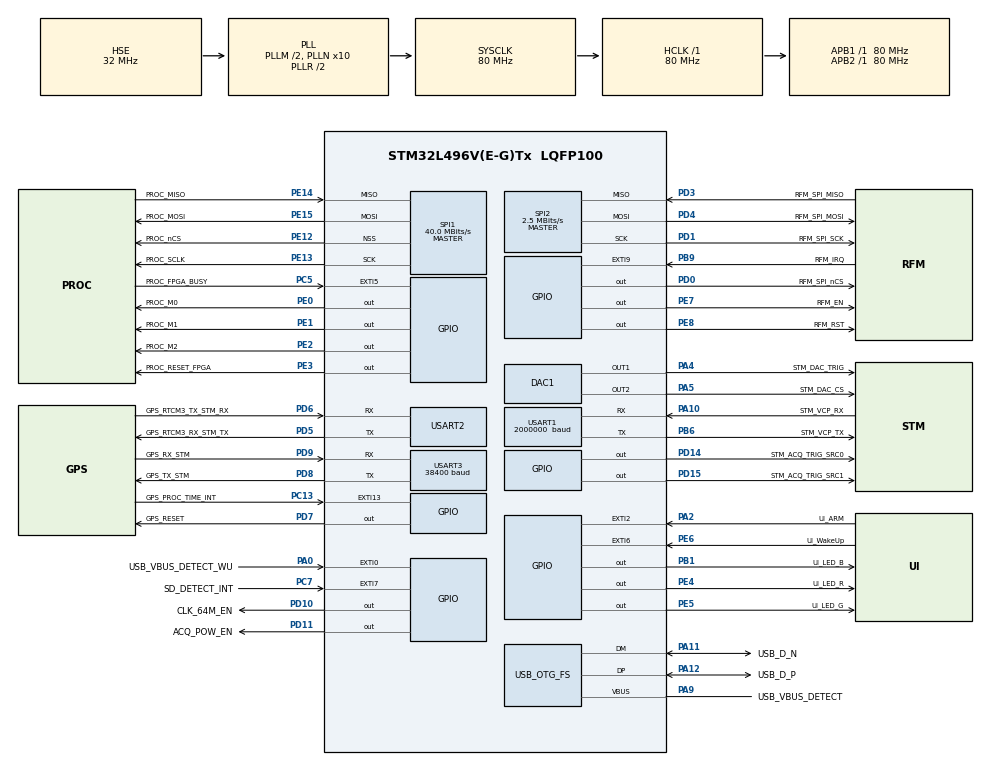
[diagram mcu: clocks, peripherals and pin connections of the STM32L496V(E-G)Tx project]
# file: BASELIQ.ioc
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DAC1.DAC_Channel-DAC_OUT2=DAC_CHANNEL_2
FREERTOS.BinarySemaphores01=xSem_LORAReceive_start,Dynamic,NULL;SD_Access_GNSS_Return,Dynamic,NULL;LORA_Access_GNSS_Return,Dynamic,NULL;GNSS_UART_Access,Dynamic,NULL;xSem_GNSS_Init,Dynamic,NULL;STARTUP_INIT_done,Dynamic,NULL
FREERTOS.INCLUDE_uxTaskPriorityGet=1
FREERTOS.INCLUDE_vTaskDelay=1
FREERTOS.INCLUDE_vTaskDelayUntil=1
FREERTOS.INCLUDE_vTaskDelete=1
FREERTOS.INCLUDE_vTaskPrioritySet=1
FREERTOS.INCLUDE_vTaskSuspend=1
FREERTOS.Queues01=UARTbyte,50,uint8_t,0,Dynamic,NULL,NULL;UBXQueue,16,UBXMessageQ_t,0,Dynamic,NULL,NULL;GNSS_Request,16,GNSSRequestQ_t,0,Dynamic,NULL,NULL;GNSS_Return,16,GNSSReturnQ_t,0,Dynamic,NULL,NULL;UARTdebug,128,UARTdebugQ_t,0,Dynamic,NULL,NULL;GNSS_toPoll,16,GNSStoPollQ_t,0,Dynamic,NULL,NULL;LoRA_toSend,16,LoRAtoSendQ_t,0,Dynamic,NULL,NULL
FREERTOS.Tasks01=InitTask,3,1024,StartInitTask,Default,NULL,Dynamic,NULL,NULL;ReceiverLoRA,0,2048,ReceiverLoRA_Task,Default,NULL,Dynamic,NULL,NULL;UARTbyte_to_GN,2,2048,UARTbyte_to_GNSSMessage_Task,Default,NULL,Dynamic,NULL,NULL;Matcher,2,1024,MatcherTask,Default,NULL,Dynamic,NULL,NULL;Fake_SDuse,0,2048,Fake_SDuse_Task,Default,NULL,Dynamic,NULL,NULL;UartDebug,-1,2048,UartDebugTask,Default,NULL,Dynamic,NULL,NULL;commandToGNSS,2,512,commandToGNSSTask,Default,NULL,Dynamic,NULL,NULL;SenderLoRa,-1,2048,SenderLoRa_Task,Default,NULL,Dynamic,NULL,NULL
FREERTOS.configGENERATE_RUN_TIME_STATS=1
FREERTOS.configMINIMAL_STACK_SIZE=512
FREERTOS.configTOTAL_HEAP_SIZE=65536
FREERTOS.configUSE_MALLOC_FAILED_HOOK=0
FREERTOS.configUSE_NEWLIB_REENTRANT=1
FREERTOS.configUSE_STATS_FORMATTING_FUNCTIONS=1
FREERTOS.configUSE_TIMERS=1
FREERTOS.configUSE_TRACE_FACILITY=1
Mcu.Family=STM32L4
Mcu.Name=STM32L496V(E-G)Tx
Mcu.Package=LQFP100
NVIC.EXTI9_5_IRQn=true\:5\:0\:false\:false\:true\:true\:true\:true\:true
NVIC.PriorityGroup=NVIC_PRIORITYGROUP_4
NVIC.TIM1_UP_TIM16_IRQn=true\:15\:0\:false\:false\:true\:false\:false\:true\:true
NVIC.TimeBase=TIM1_UP_TIM16_IRQn
NVIC.TimeBaseIP=TIM1
NVIC.USART1_IRQn=true\:5\:0\:false\:false\:true\:true\:true\:true\:true
NVIC.USART2_IRQn=true\:5\:0\:false\:false\:true\:true\:true\:true\:true
NVIC.USART3_IRQn=true\:5\:0\:true\:false\:true\:true\:true\:true\:true
PA0.GPIO_Label=USB_VBUS_DETECT_WU
PA0.Signal=GPXTI0
PA10.GPIO_Label=STM_VCP_RX
PA10.Mode=Asynchronous
PA10.Signal=USART1_RX
PA11.GPIO_Label=USB_D_N
PA11.Mode=Device_Only
PA11.Signal=USB_OTG_FS_DM
PA12.GPIO_Label=USB_D_P
PA12.Mode=Device_Only
PA12.Signal=USB_OTG_FS_DP
PA13\ (JTMS/SWDIO).GPIO_Label=STM_SWDIO
PA13\ (JTMS/SWDIO).Mode=Trace_Asynchronous_SW
PA13\ (JTMS/SWDIO).Signal=SYS_JTMS-SWDIO
PA14\ (JTCK/SWCLK).GPIO_Label=STM_SWCLK
PA14\ (JTCK/SWCLK).Mode=Trace_Asynchronous_SW
PA14\ (JTCK/SWCLK).Signal=SYS_JTCK-SWCLK
PA2.GPIO_Label=UI_ARM
PA2.Signal=GPXTI2
PA4.GPIO_Label=STM_DAC_TRIG
PA4.Signal=COMP_DAC11_group
PA5.GPIO_Label=STM_DAC_CS
PA5.Signal=COMP_DAC12_group
PA9.GPIO_Label=USB_VBUS_DETECT
PA9.Mode=Activate_VBUS
PA9.Signal=USB_OTG_FS_VBUS
PB1.GPIO_Label=UI_LED_B
PB1.Signal=GPIO_Output
PB3\ (JTDO/TRACESWO).GPIO_Label=STM_SWO
PB3\ (JTDO/TRACESWO).Mode=Trace_Asynchronous_SW
PB3\ (JTDO/TRACESWO).Signal=SYS_JTDO-SWO
PB6.GPIO_Label=STM_VCP_TX
PB6.Mode=Asynchronous
PB6.Signal=USART1_TX
PB9.GPIO_Label=RFM_IRQ
PB9.GPIO_ModeDefaultEXTI=GPIO_MODE_IT_RISING_FALLING
PB9.Signal=GPXTI9
PC13.GPIO_Label=GPS_PROC_TIME_INT
PC13.Signal=GPXTI13
PC14-OSC32_IN\ (PC14).GPIO_Label=OSC_RTC_IN
PC14-OSC32_IN\ (PC14).Mode=LSE-External-Oscillator
PC14-OSC32_IN\ (PC14).Signal=RCC_OSC32_IN
PC15-OSC32_OUT\ (PC15).GPIO_Label=OSC_RTC_OUT
PC15-OSC32_OUT\ (PC15).Mode=LSE-External-Oscillator
PC15-OSC32_OUT\ (PC15).Signal=RCC_OSC32_OUT
PC5.GPIO_Label=PROC_FPGA_BUSY
PC5.Signal=GPXTI5
PC7.GPIO_Label=SD_DETECT_INT
PC7.Signal=GPXTI7
PD0.GPIO_Label=RFM_SPI_nCS
PD0.Signal=GPIO_Output
PD1.GPIO_Label=RFM_SPI_SCK
PD1.Mode=Full_Duplex_Master
PD1.Signal=SPI2_SCK
PD10.GPIO_Label=CLK_64M_EN
PD10.Signal=GPIO_Output
PD11.GPIO_Label=ACQ_POW_EN
PD11.PinState=GPIO_PIN_SET
PD11.Signal=GPIO_Output
PD14.GPIO_Label=STM_ACQ_TRIG_SRC0
PD14.Signal=GPIO_Output
PD15.GPIO_Label=STM_ACQ_TRIG_SRC1
PD15.Signal=GPIO_Output
PD3.GPIO_Label=RFM_SPI_MISO
PD3.Mode=Full_Duplex_Master
PD3.Signal=SPI2_MISO
PD4.GPIO_Label=RFM_SPI_MOSI
PD4.Mode=Full_Duplex_Master
PD4.Signal=SPI2_MOSI
PD5.GPIO_Label=GPS_RTCM3_RX_STM_TX
PD5.Mode=Asynchronous
PD5.Signal=USART2_TX
PD6.GPIO_Label=GPS_RTCM3_TX_STM_RX
PD6.Mode=Asynchronous
PD6.Signal=USART2_RX
PD7.GPIO_Label=GPS_RESET
PD7.PinState=GPIO_PIN_SET
PD7.Signal=GPIO_Output
PD8.GPIO_Label=GPS_TX_STM
PD8.GPIO_ModeDefaultPP=GPIO_MODE_AF_PP
PD8.GPIO_PuPd=GPIO_NOPULL
PD8.Mode=Asynchronous
PD8.Signal=USART3_TX
PD9.GPIO_Label=GPS_RX_STM
PD9.Mode=Asynchronous
PD9.Signal=USART3_RX
PE0.GPIO_Label=PROC_M0
PE0.Signal=GPIO_Output
PE1.GPIO_Label=PROC_M1
PE1.Signal=GPIO_Output
PE12.GPIO_Label=PROC_nCS
PE12.Mode=NSS_Signal_Hard_Output
PE12.Signal=SPI1_NSS
PE13.GPIO_Label=PROC_SCLK
PE13.Mode=Full_Duplex_Master
PE13.Signal=SPI1_SCK
PE14.GPIO_Label=PROC_MISO
PE14.Mode=Full_Duplex_Master
PE14.Signal=SPI1_MISO
PE15.GPIO_Label=PROC_MOSI
PE15.Mode=Full_Duplex_Master
PE15.Signal=SPI1_MOSI
PE2.GPIO_Label=PROC_M2
PE2.Signal=GPIO_Output
PE3.GPIO_Label=PROC_RESET_FPGA
PE3.Signal=GPIO_Output
PE4.GPIO_Label=UI_LED_R
PE4.PinState=GPIO_PIN_RESET
PE4.Signal=GPIO_Output
PE5.GPIO_Label=UI_LED_G
PE5.Signal=GPIO_Output
PE6.GPIO_Label=UI_WakeUp
PE6.Signal=GPXTI6
PE7.GPIO_Label=RFM_EN
PE7.PinState=GPIO_PIN_SET
PE7.Signal=GPIO_Output
PE8.GPIO_Label=RFM_RST
PE8.Signal=GPIO_Output
PH0-OSC_IN\ (PH0).GPIO_Label=OSC_IN
PH0-OSC_IN\ (PH0).Mode=HSE-External-Oscillator
PH0-OSC_IN\ (PH0).Signal=RCC_OSC_IN
PH1-OSC_OUT\ (PH1).GPIO_Label=OSC_OUT
PH1-OSC_OUT\ (PH1).Mode=HSE-External-Oscillator
PH1-OSC_OUT\ (PH1).Signal=RCC_OSC_OUT
ProjectManager.HeapSize=0x200
ProjectManager.StackSize=0x400
ProjectManager.TargetToolchain=STM32CubeIDE
RCC.ADCFreq_Value=96000000
RCC.AHBFreq_Value=80000000
RCC.APB1Freq_Value=80000000
RCC.APB1TimFreq_Value=80000000
RCC.APB2Freq_Value=80000000
RCC.APB2TimFreq_Value=80000000
RCC.CortexFreq_Value=80000000
RCC.HCLKFreq_Value=80000000
RCC.HSE_VALUE=32000000
RCC.HSI48_VALUE=48000000
RCC.HSI_VALUE=16000000
RCC.MSI_VALUE=4000000
RCC.PLLM=2
RCC.PLLN=10
RCC.PLLSAI1N=12
RCC.PLLSAI1Q=RCC_PLLQ_DIV4
RCC.PLLSourceVirtual=RCC_PLLSOURCE_HSE
RCC.SYSCLKFreq_VALUE=80000000
RCC.SYSCLKSource=RCC_SYSCLKSOURCE_PLLCLK
RCC.USBFreq_Value=48000000
RCC.VCOOutputFreq_Value=160000000
SH.COMP_DAC11_group.0=DAC1_OUT1,DAC_OUT1
SH.COMP_DAC12_group.0=DAC1_OUT2,DAC_OUT2
SPI1.BaudRatePrescaler=SPI_BAUDRATEPRESCALER_2
SPI1.CalculateBaudRate=40.0 MBits/s
SPI1.Direction=SPI_DIRECTION_2LINES
SPI1.Mode=SPI_MODE_MASTER
SPI1.VirtualNSS=VM_NSSHARD
SPI1.VirtualType=VM_MASTER
SPI2.BaudRatePrescaler=SPI_BAUDRATEPRESCALER_32
SPI2.CalculateBaudRate=2.5 MBits/s
SPI2.DataSize=SPI_DATASIZE_8BIT
SPI2.Direction=SPI_DIRECTION_2LINES
SPI2.Mode=SPI_MODE_MASTER
SPI2.VirtualType=VM_MASTER
USART1.BaudRate=2000000 
USART1.SwapParam=ADVFEATURE_SWAP_ENABLE
USART1.VirtualMode-Asynchronous=VM_ASYNC
USART2.VirtualMode-Asynchronous=VM_ASYNC
USART3.BaudRate=38400
USART3.DataInvertParam=ADVFEATURE_DATAINV_DISABLE
USART3.OverrunDisableParam=ADVFEATURE_OVERRUN_ENABLE
USART3.TxPinLevelInvertParam=ADVFEATURE_TXINV_DISABLE
USART3.VirtualMode-Asynchronous=VM_ASYNC
USB_OTG_FS.VirtualMode=Device_Only
VP_FREERTOS_VS_CMSIS_V1.Mode=CMSIS_V1
VP_SYS_VS_tim1.Mode=TIM1
board=custom

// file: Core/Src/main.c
/* USER CODE BEGIN Header */
/**
 ******************************************************************************
 * @file           : main.c
 * @brief          : Main program body
 ******************************************************************************
 * @attention
 *
 * Copyright (c) 2024 STMicroelectronics.
 * All rights reserved.
 *
 * This software is licensed under terms that can be found in the LICENSE file
 * in the root directory of this software component.
 * If no LICENSE file comes with this software, it is provided AS-IS.
 *
 ******************************************************************************
 */
/* USER CODE END Header */
#include "main.h"
#include "cmsis_os.h"
#include "dac.h"
#include "spi.h"
#include "usart.h"
#include "usb_otg.h"
#include "gpio.h"

/* USER CODE BEGIN Includes */
#include "RTOS_subfunctions/debug.h"
/* USER CODE END Includes */

void SystemClock_Config(void);
void MX_FREERTOS_Init(void);

int main(void)
{

  /* MCU Configuration--------------------------------------------------------*/

  /* Reset of all peripherals, Initializes the Flash interface and the Systick. */
  HAL_Init();

  /* Configure the system clock */
  SystemClock_Config();

  /* USER CODE BEGIN SysInit */
	//xTraceInitialize(); //Percepio Trace Analyser
  /* USER CODE END SysInit */

  /* Initialize all configured peripherals */
  MX_GPIO_Init();
  MX_DAC1_Init();
  MX_SPI1_Init();
  MX_SPI2_Init();
  MX_USART1_UART_Init();
  MX_USART2_UART_Init();
  MX_USB_OTG_FS_PCD_Init();
  MX_USART3_UART_Init();
  /* USER CODE BEGIN 2 */
	//xTraceEnable(TRC_START);
  /* USER CODE END 2 */

  /* Call init function for freertos objects (in cmsis_os2.c) */
  MX_FREERTOS_Init();

  /* Start scheduler */
  osKernelStart();

  /* We should never get here as control is now taken by the scheduler */

  /* Infinite loop */
	while (1)
	{

	}
}

void SystemClock_Config(void)
{
  RCC_OscInitTypeDef RCC_OscInitStruct = {0};
  RCC_ClkInitTypeDef RCC_ClkInitStruct = {0};

  /** Configure the main internal regulator output voltage
  */
  if (HAL_PWREx_ControlVoltageScaling(PWR_REGULATOR_VOLTAGE_SCALE1) != HAL_OK)
  {
    Error_Handler();
  }

  /** Initializes the RCC Oscillators according to the specified parameters
  * in the RCC_OscInitTypeDef structure.
  */
  RCC_OscInitStruct.OscillatorType = RCC_OSCILLATORTYPE_HSE;
  RCC_OscInitStruct.HSEState = RCC_HSE_ON;
  RCC_OscInitStruct.PLL.PLLState = RCC_PLL_ON;
  RCC_OscInitStruct.PLL.PLLSource = RCC_PLLSOURCE_HSE;
  RCC_OscInitStruct.PLL.PLLM = 2;
  RCC_OscInitStruct.PLL.PLLN = 10;
  RCC_OscInitStruct.PLL.PLLP = RCC_PLLP_DIV2;
  RCC_OscInitStruct.PLL.PLLQ = RCC_PLLQ_DIV2;
  RCC_OscInitStruct.PLL.PLLR = RCC_PLLR_DIV2;
  if (HAL_RCC_OscConfig(&RCC_OscInitStruct) != HAL_OK)
  {
    Error_Handler();
  }

  /** Initializes the CPU, AHB and APB buses clocks
  */
  RCC_ClkInitStruct.ClockType = RCC_CLOCKTYPE_HCLK|RCC_CLOCKTYPE_SYSCLK
                              |RCC_CLOCKTYPE_PCLK1|RCC_CLOCKTYPE_PCLK2;
  RCC_ClkInitStruct.SYSCLKSource = RCC_SYSCLKSOURCE_PLLCLK;
  RCC_ClkInitStruct.AHBCLKDivider = RCC_SYSCLK_DIV1;
  RCC_ClkInitStruct.APB1CLKDivider = RCC_HCLK_DIV1;
  RCC_ClkInitStruct.APB2CLKDivider = RCC_HCLK_DIV1;

  if (HAL_RCC_ClockConfig(&RCC_ClkInitStruct, FLASH_LATENCY_4) != HAL_OK)
  {
    Error_Handler();
  }
}

void HAL_TIM_PeriodElapsedCallback(TIM_HandleTypeDef *htim)
{
  if (htim->Instance == TIM1) {
    HAL_IncTick();
  }
}

void Error_Handler(void)
{
  /* USER CODE BEGIN Error_Handler_Debug */
	/* User can add his own implementation to report the HAL error return state */
	__disable_irq();
	HAL_GPIO_WritePin(GPIOE, GPIO_PIN_5, GPIO_PIN_RESET);
	logMemoryUsage("ERROR_HANDLER");
	while (1)
	{
		vTaskDelay(800);
		HAL_GPIO_TogglePin(GPIOE, GPIO_PIN_4);

	}
  /* USER CODE END Error_Handler_Debug */
}

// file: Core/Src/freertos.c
/* USER CODE BEGIN Header */
/**
 ******************************************************************************
 * File Name          : freertos.c
 * Description        : Code for freertos applications
 ******************************************************************************
 * @attention
 *
 * Copyright (c) 2024 STMicroelectronics.
 * All rights reserved.
 *
 * This software is licensed under terms that can be found in the LICENSE file
 * in the root directory of this software component.
 * If no LICENSE file comes with this software, it is provided AS-IS.
 *
 ******************************************************************************
 */
/* USER CODE END Header */

#include "FreeRTOS.h"
#include "task.h"
#include "main.h"
#include "cmsis_os.h"

/* USER CODE BEGIN Includes */
#include "usb_otg.h"
#include "RTOS_subfunctions/RTOS_extern.h"
#include "RTOS_subfunctions/matcher.h"
#include "RTOS_subfunctions/fakeuseSD.h"
#include "RTOS_subfunctions/uartbyteToGnssMessage.h"
#include "RTOS_subfunctions/receiverLoRA.h"
#include "RTOS_subfunctions/debug.h"
#include "RTOS_subfunctions/senderLoRA.h"
#include <time.h>
/* USER CODE END Includes */

/* USER CODE BEGIN PM */
NotifyForRFM_IRQ_t NotifyForRFM_IRQ = {.task = NULL,.name="Init"};
ModuleConfig_t ModuleConfig;

/* USER CODE END PM */

osThreadId InitTaskHandle;
osThreadId ReceiverLoRAHandle;
osThreadId UARTbyte_to_GNHandle;
osThreadId MatcherHandle;
osThreadId Fake_SDuseHandle;
osThreadId UartDebugHandle;
osThreadId commandToGNSSHandle;
osThreadId SenderLoRaHandle;
osMessageQId UARTbyteHandle;
osMessageQId UBXQueueHandle;
osMessageQId GNSS_RequestHandle;
osMessageQId GNSS_ReturnHandle;
osMessageQId UARTdebugHandle;
osMessageQId GNSS_toPollHandle;
osMessageQId LoRA_toSendHandle;
osSemaphoreId xSem_LORAReceive_startHandle;
osSemaphoreId SD_Access_GNSS_ReturnHandle;
osSemaphoreId LORA_Access_GNSS_ReturnHandle;
osSemaphoreId GNSS_UART_AccessHandle;
osSemaphoreId xSem_GNSS_InitHandle;
osSemaphoreId STARTUP_INIT_doneHandle;

void StartInitTask(void const * argument);
void ReceiverLoRA_Task(void const * argument);
void UARTbyte_to_GNSSMessage_Task(void const * argument);
void MatcherTask(void const * argument);
void Fake_SDuse_Task(void const * argument);
void UartDebugTask(void const * argument);
void commandToGNSSTask(void const * argument);
void SenderLoRa_Task(void const * argument);

void MX_FREERTOS_Init(void); /* (MISRA C 2004 rule 8.1) */

/* GetIdleTaskMemory prototype (linked to static allocation support) */
void vApplicationGetIdleTaskMemory( StaticTask_t **ppxIdleTaskTCBBuffer, StackType_t **ppxIdleTaskStackBuffer, uint32_t *pulIdleTaskStackSize );

/* GetTimerTaskMemory prototype (linked to static allocation support) */
void vApplicationGetTimerTaskMemory( StaticTask_t **ppxTimerTaskTCBBuffer, StackType_t **ppxTimerTaskStackBuffer, uint32_t *pulTimerTaskStackSize );

/* Hook prototypes */
void configureTimerForRunTimeStats(void);
unsigned long getRunTimeCounterValue(void);

/* USER CODE BEGIN 1 */
/* Functions needed when configGENERATE_RUN_TIME_STATS is on */
__weak void configureTimerForRunTimeStats(void)
{
}
//extern volatile unsigned long ulHighFrequencyTimerTicks;
__weak unsigned long getRunTimeCounterValue(void)
{
	return 0;
}
/* USER CODE END 1 */

/* USER CODE BEGIN GET_IDLE_TASK_MEMORY */
static StaticTask_t xIdleTaskTCBBuffer;
static StackType_t xIdleStack[configMINIMAL_STACK_SIZE];

void vApplicationGetIdleTaskMemory( StaticTask_t **ppxIdleTaskTCBBuffer, StackType_t **ppxIdleTaskStackBuffer, uint32_t *pulIdleTaskStackSize )
{
	*ppxIdleTaskTCBBuffer = &xIdleTaskTCBBuffer;
	*ppxIdleTaskStackBuffer = &xIdleStack[0];
	*pulIdleTaskStackSize = configMINIMAL_STACK_SIZE;
	/* place for user code */
}
/* USER CODE END GET_IDLE_TASK_MEMORY */

/* USER CODE BEGIN GET_TIMER_TASK_MEMORY */
static StaticTask_t xTimerTaskTCBBuffer;
static StackType_t xTimerStack[configTIMER_TASK_STACK_DEPTH];

void vApplicationGetTimerTaskMemory( StaticTask_t **ppxTimerTaskTCBBuffer, StackType_t **ppxTimerTaskStackBuffer, uint32_t *pulTimerTaskStackSize )
{
	*ppxTimerTaskTCBBuffer = &xTimerTaskTCBBuffer;
	*ppxTimerTaskStackBuffer = &xTimerStack[0];
	*pulTimerTaskStackSize = configTIMER_TASK_STACK_DEPTH;
	/* place for user code */
}
/* USER CODE END GET_TIMER_TASK_MEMORY */

void MX_FREERTOS_Init(void) {

  /* Create the semaphores(s) */
  /* definition and creation of xSem_LORAReceive_start */
  osSemaphoreDef(xSem_LORAReceive_start);
  xSem_LORAReceive_startHandle = osSemaphoreCreate(osSemaphore(xSem_LORAReceive_start), 1);

  /* definition and creation of SD_Access_GNSS_Return */
  osSemaphoreDef(SD_Access_GNSS_Return);
  SD_Access_GNSS_ReturnHandle = osSemaphoreCreate(osSemaphore(SD_Access_GNSS_Return), 1);

  /* definition and creation of LORA_Access_GNSS_Return */
  osSemaphoreDef(LORA_Access_GNSS_Return);
  LORA_Access_GNSS_ReturnHandle = osSemaphoreCreate(osSemaphore(LORA_Access_GNSS_Return), 1);

  /* definition and creation of GNSS_UART_Access */
  osSemaphoreDef(GNSS_UART_Access);
  GNSS_UART_AccessHandle = osSemaphoreCreate(osSemaphore(GNSS_UART_Access), 1);

  /* definition and creation of xSem_GNSS_Init */
  osSemaphoreDef(xSem_GNSS_Init);
  xSem_GNSS_InitHandle = osSemaphoreCreate(osSemaphore(xSem_GNSS_Init), 1);

  /* definition and creation of STARTUP_INIT_done */
  osSemaphoreDef(STARTUP_INIT_done);
  STARTUP_INIT_doneHandle = osSemaphoreCreate(osSemaphore(STARTUP_INIT_done), 1);

  /* Create the queue(s) */
  /* definition and creation of UARTbyte */
  osMessageQDef(UARTbyte, 50, uint8_t);
  UARTbyteHandle = osMessageCreate(osMessageQ(UARTbyte), NULL);

  /* definition and creation of UBXQueue */
  osMessageQDef(UBXQueue, 16, UBXMessageQ_t);
  UBXQueueHandle = osMessageCreate(osMessageQ(UBXQueue), NULL);

  /* definition and creation of GNSS_Request */
  osMessageQDef(GNSS_Request, 16, GNSSRequestQ_t);
  GNSS_RequestHandle = osMessageCreate(osMessageQ(GNSS_Request), NULL);

  /* definition and creation of GNSS_Return */
  osMessageQDef(GNSS_Return, 16, GNSSReturnQ_t);
  GNSS_ReturnHandle = osMessageCreate(osMessageQ(GNSS_Return), NULL);

  /* definition and creation of UARTdebug */
  osMessageQDef(UARTdebug, 128, UARTdebugQ_t);
  UARTdebugHandle = osMessageCreate(osMessageQ(UARTdebug), NULL);

  /* definition and creation of GNSS_toPoll */
  osMessageQDef(GNSS_toPoll, 16, GNSStoPollQ_t);
  GNSS_toPollHandle = osMessageCreate(osMessageQ(GNSS_toPoll), NULL);

  /* definition and creation of LoRA_toSend */
  osMessageQDef(LoRA_toSend, 16, LoRAtoSendQ_t);
  LoRA_toSendHandle = osMessageCreate(osMessageQ(LoRA_toSend), NULL);

  /* Create the thread(s) */
  /* definition and creation of InitTask */
  osThreadDef(InitTask, StartInitTask, osPriorityRealtime, 0, 1024);
  InitTaskHandle = osThreadCreate(osThread(InitTask), NULL);

  /* definition and creation of ReceiverLoRA */
  osThreadDef(ReceiverLoRA, ReceiverLoRA_Task, osPriorityNormal, 0, 2048);
  ReceiverLoRAHandle = osThreadCreate(osThread(ReceiverLoRA), NULL);

  /* definition and creation of UARTbyte_to_GN */
  osThreadDef(UARTbyte_to_GN, UARTbyte_to_GNSSMessage_Task, osPriorityHigh, 0, 2048);
  UARTbyte_to_GNHandle = osThreadCreate(osThread(UARTbyte_to_GN), NULL);

  /* definition and creation of Matcher */
  osThreadDef(Matcher, MatcherTask, osPriorityHigh, 0, 1024);
  MatcherHandle = osThreadCreate(osThread(Matcher), NULL);

  /* definition and creation of Fake_SDuse */
  osThreadDef(Fake_SDuse, Fake_SDuse_Task, osPriorityNormal, 0, 2048);
  Fake_SDuseHandle = osThreadCreate(osThread(Fake_SDuse), NULL);

  /* definition and creation of UartDebug */
  osThreadDef(UartDebug, UartDebugTask, osPriorityBelowNormal, 0, 2048);
  UartDebugHandle = osThreadCreate(osThread(UartDebug), NULL);

  /* definition and creation of commandToGNSS */
  osThreadDef(commandToGNSS, commandToGNSSTask, osPriorityHigh, 0, 512);
  commandToGNSSHandle = osThreadCreate(osThread(commandToGNSS), NULL);

  /* definition and creation of SenderLoRa */
  osThreadDef(SenderLoRa, SenderLoRa_Task, osPriorityBelowNormal, 0, 2048);
  SenderLoRaHandle = osThreadCreate(osThread(SenderLoRa), NULL);

}

void StartInitTask(void const * argument)
{
  /* USER CODE BEGIN StartInitTask */
	const char startMessage[] = "\r\nStarting...\r\n";
	const char initDoneMessage[] = "\r\nInit Done\r\n\n";

	HAL_UART_Transmit(&huart1, (uint8_t *)startMessage, sizeof(startMessage), 10);

	HAL_GPIO_WritePin(GPIOE, GPIO_PIN_4,GPIO_PIN_SET);
	GNSSCom_Init(&huart3,&huart1);
	LORACom_Init(&hspi2, &huart1);
	srand(time(NULL));
	RFM9x_Init();
	GNSSCom_SetUp_Init();

	HAL_UART_Transmit(&huart1, (uint8_t *)initDoneMessage, sizeof(initDoneMessage), 10);
	HAL_GPIO_TogglePin(GPIOE, GPIO_PIN_4);HAL_GPIO_TogglePin(GPIOE, GPIO_PIN_5);
	logMemoryUsage("INITIALISATION");
	ModuleConfig = (ModuleConfig_t){
		.doDebugging = true,
		.doLowEnergy = false //Led allumée seulement 5s par exemple
	};
	osSignalSet(ReceiverLoRAHandle, 0x01);
	osSignalSet(Fake_SDuseHandle, 0x01);
	osSignalSet(UARTbyte_to_GNHandle, 0x01);
	osSignalSet(MatcherHandle, 0x01);
	osThreadTerminate(InitTaskHandle);
	//__HAL_UART_ENABLE_IT(&huart3, UART_IT_RXNE);
  /* USER CODE END StartInitTask */
}

void ReceiverLoRA_Task(void const * argument)
{
  /* USER CODE BEGIN ReceiverLoRA_Task */
	/* Infinite loop */
	osEvent eventFromStart = osSignalWait(0x01, osWaitForever);
	if (eventFromStart.status == osEventSignal){
		for(;;)
		{
			//osSemaphoreWait(xSem_LORAReceive_startHandle, osWaitForever);
            xTaskNotifyWait(0x00,        // Ne pas effacer de bits à l'entrée
                            0xFFFFFFFF,  // Effacer tous les bits à la sortie
                            NULL,        // Stocker la valeur des bits notifiés
                            portMAX_DELAY); // Attendre indéfiniment
            NotifyForRFM_IRQ = (NotifyForRFM_IRQ_t){.task = NULL,.name="PostReception"};
			receivedLora();
		}
	}
  /* USER CODE END ReceiverLoRA_Task */
}

void UARTbyte_to_GNSSMessage_Task(void const * argument)
{
  /* USER CODE BEGIN UARTbyte_to_GNSSMessage_Task */
	/* Infinite loop */
	osEvent eventFromStart = osSignalWait(0x01, osWaitForever);
	if (eventFromStart.status == osEventSignal){
		for(;;)
		{
			uartbyteToGnssMessage();
			//Surtout pas delay ici
		}
	}
  /* USER CODE END UARTbyte_to_GNSSMessage_Task */
}

void MatcherTask(void const * argument)
{
  /* USER CODE BEGIN MatcherTask */
	/* Infinite loop */
	osEvent event = osSignalWait(0x01, osWaitForever);
	if (event.status==osEventSignal){
		for(;;)
		{
			//On attend qu'un message UBX soit recu car nous avons prealablement envoyer une requete au GNSS}
			while(uxQueueMessagesWaiting(UBXQueueHandle)==0)vTaskDelay(1);
			matcher();
		}
	}
  /* USER CODE END MatcherTask */
}

void Fake_SDuse_Task(void const * argument)
{
  /* USER CODE BEGIN Fake_SDuse_Task */
	TickType_t xLastWakeTime;
	xLastWakeTime = xTaskGetTickCount();
	osEvent event = osSignalWait(0x01, osWaitForever);
	if (event.status==osEventSignal){

		/* Infinite loop */
		for(;;)
		{
			fakeuseSD();
			vTaskDelayUntil(&xLastWakeTime,1000);
		}
	}
  /* USER CODE END Fake_SDuse_Task */
}

void UartDebugTask(void const * argument)
{
  /* USER CODE BEGIN UartDebugTask */
	/* Infinite loop */
	for(;;)
	{
		debug();

	}
  /* USER CODE END UartDebugTask */
}

void commandToGNSSTask(void const * argument)
{
  /* USER CODE BEGIN commandToGNSSTask */
	/* Infinite loop */
	for(;;)
	{
		commandToGNSS();
	}

  /* USER CODE END commandToGNSSTask */
}

void SenderLoRa_Task(void const * argument)
{
  /* USER CODE BEGIN SenderLoRa_Task */
	/* Infinite loop */
	for(;;)
	{
		senderLoRA();
	}
  /* USER CODE END SenderLoRa_Task */
}

/* USER CODE BEGIN Application */
/*void initPool(osPoolId* poolId, int POOL_SIZE) {
    osPoolDef_t poolDef = {POOL_SIZE, sizeof(UBXMessage_parsed), NULL};
 *poolId = osPoolCreate(&poolDef);
    if (*poolId == NULL) {
        // Gérer l'erreur d'initialisation du pool
    }
}*/

/* USER CODE END Application */
